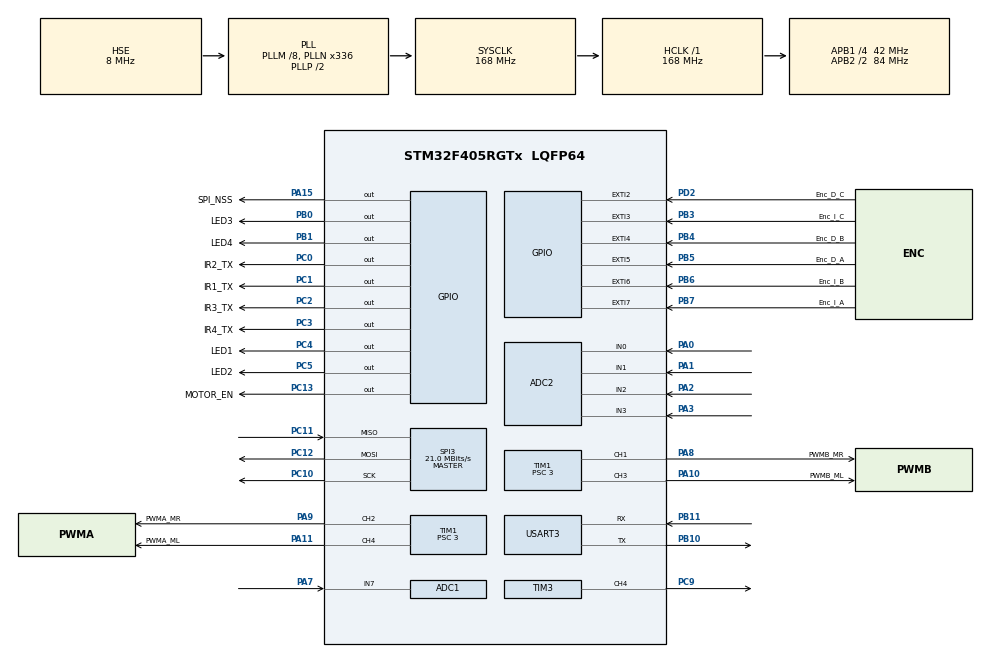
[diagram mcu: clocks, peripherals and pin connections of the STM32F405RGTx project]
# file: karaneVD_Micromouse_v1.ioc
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ADC1.Channel-1\#ChannelRegularConversion=ADC_CHANNEL_7
ADC1.ClockPrescaler=ADC_CLOCK_SYNC_PCLK_DIV4
ADC1.NbrOfConversionFlag=1
ADC1.Rank-1\#ChannelRegularConversion=1
ADC1.SamplingTime-1\#ChannelRegularConversion=ADC_SAMPLETIME_15CYCLES
ADC1.ScanConvMode=DISABLE
ADC1.master=1
ADC2.Channel-1\#ChannelRegularConversion=ADC_CHANNEL_0
ADC2.ClockPrescaler=ADC_CLOCK_SYNC_PCLK_DIV4
ADC2.NbrOfConversionFlag=1
ADC2.Rank-1\#ChannelRegularConversion=1
ADC2.SamplingTime-1\#ChannelRegularConversion=ADC_SAMPLETIME_15CYCLES
Mcu.Family=STM32F4
Mcu.Name=STM32F405RGTx
Mcu.Package=LQFP64
NVIC.EXTI2_IRQn=true\:0\:0\:false\:false\:true\:true\:true\:true
NVIC.EXTI3_IRQn=true\:0\:0\:false\:false\:true\:true\:true\:true
NVIC.EXTI4_IRQn=true\:0\:0\:false\:false\:true\:true\:true\:true
NVIC.EXTI9_5_IRQn=true\:0\:0\:false\:false\:true\:true\:true\:true
NVIC.PriorityGroup=NVIC_PRIORITYGROUP_4
PA0-WKUP.Signal=ADCx_IN0
PA1.Signal=ADCx_IN1
PA10.GPIO_Label=PWMB_ML
PA10.Signal=S_TIM1_CH3
PA11.GPIO_Label=PWMA_ML
PA11.Signal=S_TIM1_CH4
PA13.Mode=Serial_Wire
PA13.Signal=SYS_JTMS-SWDIO
PA14.Mode=Serial_Wire
PA14.Signal=SYS_JTCK-SWCLK
PA15.GPIO_Label=SPI_NSS
PA15.Signal=GPIO_Output
PA2.Signal=ADCx_IN2
PA3.Signal=ADCx_IN3
PA7.Signal=ADCx_IN7
PA8.GPIO_Label=PWMB_MR
PA8.Signal=S_TIM1_CH1
PA9.GPIO_Label=PWMA_MR
PA9.Signal=S_TIM1_CH2
PB0.GPIO_Label=LED3
PB0.Signal=GPIO_Output
PB1.GPIO_Label=LED4
PB1.Signal=GPIO_Output
PB10.Mode=Asynchronous
PB10.Signal=USART3_TX
PB11.Mode=Asynchronous
PB11.Signal=USART3_RX
PB3.GPIO_Label=Enc_I_C
PB3.GPIO_ModeDefaultEXTI=GPIO_MODE_IT_RISING
PB3.GPIO_PuPd=GPIO_PULLDOWN
PB3.Signal=GPXTI3
PB4.GPIO_Label=Enc_D_B
PB4.GPIO_ModeDefaultEXTI=GPIO_MODE_IT_RISING_FALLING
PB4.GPIO_PuPd=GPIO_PULLDOWN
PB4.Signal=GPXTI4
PB5.GPIO_Label=Enc_D_A
PB5.GPIO_ModeDefaultEXTI=GPIO_MODE_IT_RISING_FALLING
PB5.GPIO_PuPd=GPIO_PULLDOWN
PB5.Signal=GPXTI5
PB6.GPIO_Label=Enc_I_B
PB6.GPIO_ModeDefaultEXTI=GPIO_MODE_IT_RISING_FALLING
PB6.GPIO_PuPd=GPIO_PULLDOWN
PB6.Signal=GPXTI6
PB7.GPIO_Label=Enc_I_A
PB7.GPIO_ModeDefaultEXTI=GPIO_MODE_IT_RISING_FALLING
PB7.GPIO_PuPd=GPIO_PULLDOWN
PB7.Signal=GPXTI7
PC0.GPIO_Label=IR2_TX
PC0.Signal=GPIO_Output
PC1.GPIO_Label=IR1_TX
PC1.Signal=GPIO_Output
PC10.Mode=Full_Duplex_Master
PC10.Signal=SPI3_SCK
PC11.Mode=Full_Duplex_Master
PC11.Signal=SPI3_MISO
PC12.Mode=Full_Duplex_Master
PC12.Signal=SPI3_MOSI
PC13-ANTI_TAMP.GPIO_Label=MOTOR_EN
PC13-ANTI_TAMP.Signal=GPIO_Output
PC2.GPIO_Label=IR3_TX
PC2.Signal=GPIO_Output
PC3.GPIO_Label=IR4_TX
PC3.Signal=GPIO_Output
PC4.GPIO_Label=LED1
PC4.Signal=GPIO_Output
PC5.GPIO_Label=LED2
PC5.Signal=GPIO_Output
PC9.Signal=S_TIM3_CH4
PD2.GPIO_Label=Enc_D_C
PD2.GPIO_ModeDefaultEXTI=GPIO_MODE_IT_RISING
PD2.GPIO_PuPd=GPIO_PULLDOWN
PD2.Signal=GPXTI2
PH0-OSC_IN.Mode=HSE-External-Oscillator
PH0-OSC_IN.Signal=RCC_OSC_IN
PH1-OSC_OUT.Mode=HSE-External-Oscillator
PH1-OSC_OUT.Signal=RCC_OSC_OUT
ProjectManager.HeapSize=0x200
ProjectManager.StackSize=0x400
ProjectManager.TargetToolchain=STM32CubeIDE
RCC.48MHZClocksFreq_Value=84000000
RCC.AHBFreq_Value=168000000
RCC.APB1CLKDivider=RCC_HCLK_DIV4
RCC.APB1Freq_Value=42000000
RCC.APB1TimFreq_Value=84000000
RCC.APB2CLKDivider=RCC_HCLK_DIV2
RCC.APB2Freq_Value=84000000
RCC.APB2TimFreq_Value=168000000
RCC.CortexFreq_Value=168000000
RCC.HCLKFreq_Value=168000000
RCC.HSE_VALUE=8000000
RCC.HSI_VALUE=16000000
RCC.LSE_VALUE=32768
RCC.PLLM=8
RCC.PLLN=336
RCC.PLLSourceVirtual=RCC_PLLSOURCE_HSE
RCC.SYSCLKFreq_VALUE=168000000
RCC.SYSCLKSource=RCC_SYSCLKSOURCE_PLLCLK
RCC.VCOOutputFreq_Value=336000000
SH.ADCx_IN0.0=ADC2_IN0,IN0
SH.ADCx_IN1.0=ADC2_IN1,IN1
SH.ADCx_IN2.0=ADC2_IN2,IN2
SH.ADCx_IN3.0=ADC2_IN3,IN3
SH.ADCx_IN7.0=ADC1_IN7,IN7
SH.S_TIM1_CH1.0=TIM1_CH1,PWM Generation1 CH1
SH.S_TIM1_CH2.0=TIM1_CH2,PWM Generation2 CH2
SH.S_TIM1_CH3.0=TIM1_CH3,PWM Generation3 CH3
SH.S_TIM1_CH4.0=TIM1_CH4,PWM Generation4 CH4
SH.S_TIM3_CH4.0=TIM3_CH4,PWM Generation4 CH4
SPI3.BaudRatePrescaler=SPI_BAUDRATEPRESCALER_2
SPI3.CalculateBaudRate=21.0 MBits/s
SPI3.Direction=SPI_DIRECTION_2LINES
SPI3.Mode=SPI_MODE_MASTER
SPI3.VirtualType=VM_MASTER
TIM1.Channel-PWM\ Generation1\ CH1=TIM_CHANNEL_1
TIM1.Channel-PWM\ Generation2\ CH2=TIM_CHANNEL_2
TIM1.Channel-PWM\ Generation3\ CH3=TIM_CHANNEL_3
TIM1.Channel-PWM\ Generation4\ CH4=TIM_CHANNEL_4
TIM1.Period=1049
TIM1.Prescaler=3
TIM3.Channel-PWM\ Generation4\ CH4=TIM_CHANNEL_4
TIM3.Period=999
TIM3.Prescaler=7
USART3.VirtualMode=VM_ASYNC
board=custom

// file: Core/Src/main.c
/* USER CODE BEGIN Header */
/**
  ******************************************************************************
  * @file           : main.c
  * @brief          : Main program body
  ******************************************************************************
  * @attention
  *
  * Copyright (c) 2026 STMicroelectronics.
  * All rights reserved.
  *
  * This software is licensed under terms that can be found in the LICENSE file
  * in the root directory of this software component.
  * If no LICENSE file comes with this software, it is provided AS-IS.
  *
  ******************************************************************************
  */
/* USER CODE END Header */
#include "main.h"
#include "adc.h"
#include "spi.h"
#include "tim.h"
#include "usart.h"
#include "gpio.h"

/* USER CODE BEGIN Includes */
#include <string.h>
#include <stdio.h>
#include "LIB_MPU6500_SPI.h"
/* USER CODE END Includes */

/* USER CODE BEGIN PD */

/* Variables para los encoders*/
const int8_t estadoTabla[16]={0,-1,1,0,1,0,0,-1,-1,0,0,1,0,1,-1,0}; //valor encoders de tabla de verdad
uint8_t estadoAnterior_L=0;
uint8_t estadoAnterior_R=0;
int32_t ticksD=0;
int32_t ticksI=0;
int32_t contD=0;
int32_t contI=0;

char bufferTxt[30];
MPU6500_Init_Values_t 	MPU6500_Datos; //Iniciamos donde se guardaran todos los datos a leer
MPU6500_status_e	MPU6500_Status;
MPU6500_Init_float_t	MPU6500_Conv;
/* USER CODE END PD */

void SystemClock_Config(void);

/* USER CODE BEGIN 0 */

uint32_t ADC_Read_Manual(ADC_HandleTypeDef *hadc, uint32_t channel) {
    ADC_ChannelConfTypeDef sConfig = {0};
    uint32_t result = 0;

    // 1. Configurar el canal específico en la posición 1
    sConfig.Channel = channel;
    sConfig.Rank = 1;
    // Aumenta el tiempo de muestreo si lees 0 o valores inestables
    sConfig.SamplingTime = ADC_SAMPLETIME_56CYCLES;

    // 2. Aplicar configuración
    if (HAL_ADC_ConfigChannel(hadc, &sConfig) != HAL_OK) {
        return 0; // Error de configuración
    }

    // 3. Ciclo de conversión
    HAL_ADC_Start(hadc);

    // Esperar con un timeout prudente (10ms es suficiente)
    if (HAL_ADC_PollForConversion(hadc, 10) == HAL_OK) {
        result = HAL_ADC_GetValue(hadc);
    }

    // 4. Parar el ADC para liberar el secuenciador
    HAL_ADC_Stop(hadc);

    return result;
}

void HAL_GPIO_EXTI_Callback(uint16_t GPIO_Pin)
{

	if(GPIO_Pin==Enc_D_A_Pin||GPIO_Pin==Enc_D_B_Pin)
		{
		uint8_t bitStatusL=((HAL_GPIO_ReadPin(Enc_D_A_GPIO_Port, Enc_D_A_Pin))?2:0) | ((HAL_GPIO_ReadPin(Enc_D_B_GPIO_Port, Enc_D_B_Pin))?1:0);
		ticksD+=(-estadoTabla[((estadoAnterior_L<<2)|bitStatusL)]);
		estadoAnterior_L=bitStatusL;
		}
	if(GPIO_Pin==Enc_I_A_Pin||GPIO_Pin==Enc_I_B_Pin)
		{
		uint8_t bitStatusR=((HAL_GPIO_ReadPin(Enc_I_A_GPIO_Port, Enc_I_A_Pin))?2:0) | ((HAL_GPIO_ReadPin(Enc_I_B_GPIO_Port, Enc_I_B_Pin))?1:0);
		ticksI+=(estadoTabla[((estadoAnterior_R<<2)|bitStatusR)]);
		estadoAnterior_R=bitStatusR;
		}
	if(GPIO_Pin==Enc_D_C_Pin)
	{
		contD++;
	}
	if(GPIO_Pin==Enc_I_C_Pin)
		{
			contI++;
		}

}
/* USER CODE END 0 */

int main(void)
{

  /* MCU Configuration--------------------------------------------------------*/

  /* Reset of all peripherals, Initializes the Flash interface and the Systick. */
  HAL_Init();

  /* Configure the system clock */
  SystemClock_Config();

  /* Initialize all configured peripherals */
  MX_GPIO_Init();
  MX_SPI3_Init();
  MX_USART3_UART_Init();
  MX_ADC1_Init();
  MX_ADC2_Init();
  MX_TIM1_Init();
  MX_TIM3_Init();
  /* USER CODE BEGIN 2 */
  HAL_TIM_PWM_Start(&htim1, TIM_CHANNEL_1);
  HAL_TIM_PWM_Start(&htim1, TIM_CHANNEL_2);
  HAL_TIM_PWM_Start(&htim1, TIM_CHANNEL_3);
  HAL_TIM_PWM_Start(&htim1, TIM_CHANNEL_4);

  HAL_TIM_PWM_Start(&htim3, TIM_CHANNEL_4);

  __HAL_TIM_SET_COMPARE(&htim1,TIM_CHANNEL_1,00);
  __HAL_TIM_SET_COMPARE(&htim1,TIM_CHANNEL_2,00);
  __HAL_TIM_SET_COMPARE(&htim1,TIM_CHANNEL_3,00);
  __HAL_TIM_SET_COMPARE(&htim1,TIM_CHANNEL_4,00);

  __HAL_TIM_SET_COMPARE(&htim3,TIM_CHANNEL_4,00);

  HAL_GPIO_WritePin(GPIOC, GPIO_PIN_5,GPIO_PIN_SET);
  HAL_Delay(1000);

  HAL_GPIO_WritePin(GPIOC, GPIO_PIN_5,GPIO_PIN_RESET);

  MPU6500_Status=MPU6500_Init(&MPU6500_Datos,10,DPS250,G2);
  /*if (MPU6500_Status==MPU6500_fail) {
  	for (;;) {
  		 sprintf(bufferTxt,"Fallo al iniciar MPU\r\n");
  				  HAL_UART_Transmit(&huart3, (uint8_t *)bufferTxt, strlen(bufferTxt), HAL_MAX_DELAY);
  				HAL_GPIO_TogglePin(GPIOC, GPIO_PIN_5);
  				HAL_Delay(500);
  		}
  }*/
  sprintf(bufferTxt," Exito al iniciar MPU\r\n");
 		  HAL_UART_Transmit(&huart3, (uint8_t *)bufferTxt, strlen(bufferTxt), HAL_MAX_DELAY);
 HAL_ADC_Start(&hadc1);

  HAL_Delay(1000);
uint16_t xxx=0;
  /* USER CODE END 2 */

  /* Infinite loop */
  while (1)
  {

    /* USER CODE BEGIN 3 */

	  __HAL_TIM_SET_COMPARE(&htim3,TIM_CHANNEL_4,xxx);
	  xxx=xxx+8;
	  if(xxx>200)
	  {
		  xxx=0;
		  //HAL_Delay(4000);
	  }
	  HAL_Delay(500);
	  HAL_GPIO_WritePin(MOTOR_EN_GPIO_Port, MOTOR_EN_Pin, GPIO_PIN_RESET);
	  //HAL_GPIO_TogglePin(GPIOC, GPIO_PIN_4);
	  HAL_GPIO_TogglePin(GPIOC, GPIO_PIN_5);
	  HAL_GPIO_TogglePin(GPIOB, GPIO_PIN_0);
	  HAL_GPIO_TogglePin(GPIOB, GPIO_PIN_1);
	  __HAL_TIM_SET_COMPARE(&htim1,TIM_CHANNEL_1,50);
	    __HAL_TIM_SET_COMPARE(&htim1,TIM_CHANNEL_2,100);
	    __HAL_TIM_SET_COMPARE(&htim1,TIM_CHANNEL_3,50);
	    __HAL_TIM_SET_COMPARE(&htim1,TIM_CHANNEL_4,100);

	  MPU6500_Read(&MPU6500_Datos);
	  MPU6500_Conv=MPU6500_Converter(&MPU6500_Datos, DPS250_CONV, G2_CONV);

	sprintf(bufferTxt," Gx= %.2f ",MPU6500_Conv.MPU6500_floatGX);
	HAL_UART_Transmit(&huart3, (uint8_t *)bufferTxt, strlen(bufferTxt), HAL_MAX_DELAY);

	sprintf(bufferTxt," Gy= %.2f ",MPU6500_Conv.MPU6500_floatGY);
	HAL_UART_Transmit(&huart3, (uint8_t *)bufferTxt, strlen(bufferTxt), HAL_MAX_DELAY);

	sprintf(bufferTxt," Gz= %.2f ",MPU6500_Conv.MPU6500_floatGZ);
	HAL_UART_Transmit(&huart3, (uint8_t *)bufferTxt, strlen(bufferTxt), HAL_MAX_DELAY);

	sprintf(bufferTxt," Ax= %.2f ",MPU6500_Conv.MPU6500_floatAX);
	HAL_UART_Transmit(&huart3, (uint8_t *)bufferTxt, strlen(bufferTxt), HAL_MAX_DELAY);

	sprintf(bufferTxt," Ay= %.2f ",MPU6500_Conv.MPU6500_floatAY);
	HAL_UART_Transmit(&huart3, (uint8_t *)bufferTxt, strlen(bufferTxt), HAL_MAX_DELAY);

	sprintf(bufferTxt," Az= %.2f \r\n",MPU6500_Conv.MPU6500_floatAZ);
	HAL_UART_Transmit(&huart3, (uint8_t *)bufferTxt, strlen(bufferTxt), HAL_MAX_DELAY);

	uint16_t adc2_val=00;
/*

	HAL_ADC_Start(&hadc1);

	    // Esperar con un timeout prudente (10ms es suficiente)
	    if (HAL_ADC_PollForConversion(&hadc1, 10) == HAL_OK) {
	        adc2_val = HAL_ADC_GetValue(&hadc1);

		    // 4. Parar el ADC para liberar el secuenciador
		    HAL_ADC_Stop(&hadc1);
	    }*/
	adc2_val=(uint16_t)ADC_Read_Manual(&hadc1, 7);
	if(adc2_val<4010 && adc2_val>4000)
	{
		ticksD=0;
		ticksI=0;
		contD=0;
		contI=0;
	}
	sprintf(bufferTxt," Ad0 boton= %d ",adc2_val);
	HAL_UART_Transmit(&huart3, (uint8_t *)bufferTxt, strlen(bufferTxt), HAL_MAX_DELAY);

	HAL_GPIO_WritePin(IR1_TX_GPIO_Port, IR1_TX_Pin, GPIO_PIN_SET);
	HAL_Delay(100);
	adc2_val=(uint16_t)ADC_Read_Manual(&hadc2, 1);
	HAL_Delay(5);

	sprintf(bufferTxt," ir1= %d ",adc2_val);
	HAL_UART_Transmit(&huart3, (uint8_t *)bufferTxt, strlen(bufferTxt), HAL_MAX_DELAY);
	HAL_GPIO_WritePin(IR1_TX_GPIO_Port, IR1_TX_Pin, GPIO_PIN_RESET);

	adc2_val=(uint16_t)ADC_Read_Manual(&hadc2, 2);
	sprintf(bufferTxt," Adc2= %d ",adc2_val);
	HAL_UART_Transmit(&huart3, (uint8_t *)bufferTxt, strlen(bufferTxt), HAL_MAX_DELAY);

	adc2_val=(uint16_t)ADC_Read_Manual(&hadc2, 3);
	sprintf(bufferTxt," Adc3= %d ",adc2_val);
	HAL_UART_Transmit(&huart3, (uint8_t *)bufferTxt, strlen(bufferTxt), HAL_MAX_DELAY);

	adc2_val=(uint16_t)ADC_Read_Manual(&hadc2, 4);
	sprintf(bufferTxt," Adc= %d \r\n",adc2_val);

	HAL_UART_Transmit(&huart3, (uint8_t *)bufferTxt, strlen(bufferTxt), HAL_MAX_DELAY);

	sprintf(bufferTxt," I= %ld ",ticksI);
	HAL_UART_Transmit(&huart3, (uint8_t *)bufferTxt, strlen(bufferTxt), HAL_MAX_DELAY);

	sprintf(bufferTxt," contI= %ld ",contI);
	HAL_UART_Transmit(&huart3, (uint8_t *)bufferTxt, strlen(bufferTxt), HAL_MAX_DELAY);
		sprintf(bufferTxt," D= %ld ",ticksD);
		HAL_UART_Transmit(&huart3, (uint8_t *)bufferTxt, strlen(bufferTxt), HAL_MAX_DELAY);

		sprintf(bufferTxt," contD= %ld \r\n",contD);
		HAL_UART_Transmit(&huart3, (uint8_t *)bufferTxt, strlen(bufferTxt), HAL_MAX_DELAY);

	  	HAL_Delay(100);

  }

  /* USER CODE END 3 */
}

void SystemClock_Config(void)
{
  RCC_OscInitTypeDef RCC_OscInitStruct = {0};
  RCC_ClkInitTypeDef RCC_ClkInitStruct = {0};

  /** Configure the main internal regulator output voltage
  */
  __HAL_RCC_PWR_CLK_ENABLE();
  __HAL_PWR_VOLTAGESCALING_CONFIG(PWR_REGULATOR_VOLTAGE_SCALE1);

  /** Initializes the RCC Oscillators according to the specified parameters
  * in the RCC_OscInitTypeDef structure.
  */
  RCC_OscInitStruct.OscillatorType = RCC_OSCILLATORTYPE_HSE;
  RCC_OscInitStruct.HSEState = RCC_HSE_ON;
  RCC_OscInitStruct.PLL.PLLState = RCC_PLL_ON;
  RCC_OscInitStruct.PLL.PLLSource = RCC_PLLSOURCE_HSE;
  RCC_OscInitStruct.PLL.PLLM = 8;
  RCC_OscInitStruct.PLL.PLLN = 336;
  RCC_OscInitStruct.PLL.PLLP = RCC_PLLP_DIV2;
  RCC_OscInitStruct.PLL.PLLQ = 4;
  if (HAL_RCC_OscConfig(&RCC_OscInitStruct) != HAL_OK)
  {
    Error_Handler();
  }

  /** Initializes the CPU, AHB and APB buses clocks
  */
  RCC_ClkInitStruct.ClockType = RCC_CLOCKTYPE_HCLK|RCC_CLOCKTYPE_SYSCLK
                              |RCC_CLOCKTYPE_PCLK1|RCC_CLOCKTYPE_PCLK2;
  RCC_ClkInitStruct.SYSCLKSource = RCC_SYSCLKSOURCE_PLLCLK;
  RCC_ClkInitStruct.AHBCLKDivider = RCC_SYSCLK_DIV1;
  RCC_ClkInitStruct.APB1CLKDivider = RCC_HCLK_DIV4;
  RCC_ClkInitStruct.APB2CLKDivider = RCC_HCLK_DIV2;

  if (HAL_RCC_ClockConfig(&RCC_ClkInitStruct, FLASH_LATENCY_5) != HAL_OK)
  {
    Error_Handler();
  }
}

void Error_Handler(void)
{
  __disable_irq();
  while (1)
  {
  }
}
